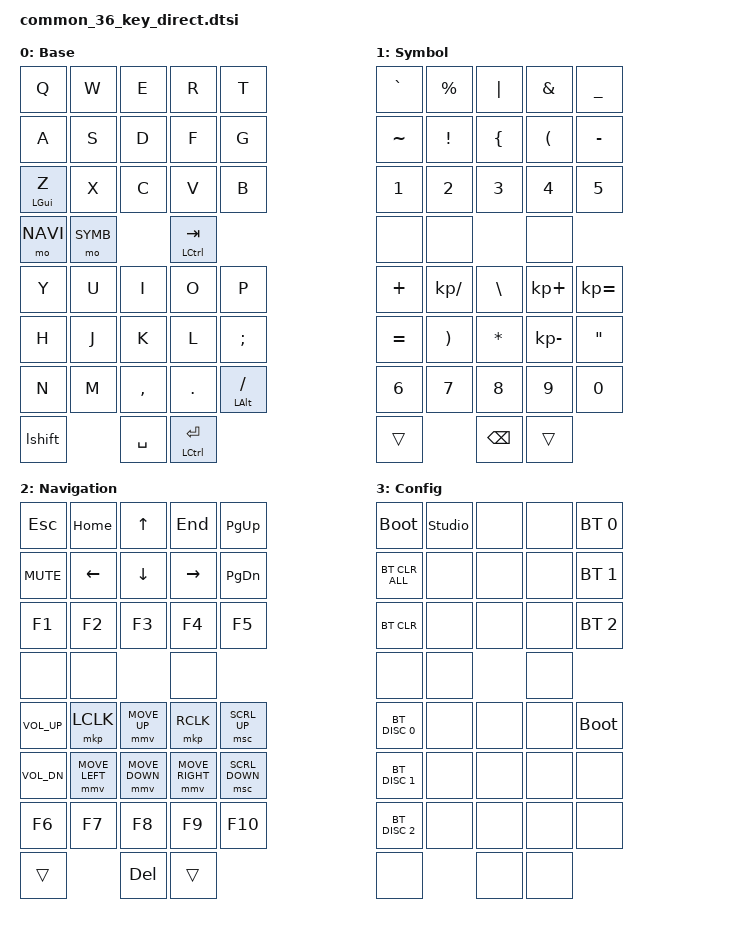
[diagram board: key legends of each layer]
#include <behaviors.dtsi>
#include <dt-bindings/zmk/keys.h>
#include <dt-bindings/zmk/bt.h>
#include <dt-bindings/zmk/pointing.h>
#include <dt-bindings/zmk/behaviors.h>

#define BASE 0
#define SYMB 1
#define NAVI 2
#define CONF 3

/ {  
    combos {
        compatible = "zmk,combos";
        
        combo_activate_layer_3 {
            timeout-ms = <150>;
            key-positions = <15 17>;
            bindings = <&mo CONF>;
        };
    };
    
    behaviors {        
        mt: mod_tap {
            compatible = "zmk,behavior-hold-tap";
            #binding-cells = <2>;
            bindings = <&kp>, <&kp>;
            tapping-term-ms = <220>;
        };
        
        mt_b: mod_tap_balanced {
            compatible = "zmk,behavior-hold-tap";
            #binding-cells = <2>;
	    flavor = "balanced";
            bindings = <&kp>, <&kp>;
            tapping-term-ms = <220>;
        };
    };

    keymap {
        compatible = "zmk,keymap";

        default_layer { // Layer 0
            display-name = "Base";
            bindings = <
                &kp Q    &kp W    &kp E    &kp R    &kp T                   
                &kp A    &kp S    &kp D    &kp F    &kp G 
                &mt_b LGUI Z    &kp X    &kp C        &kp V      &kp B 
                &mo NAVI     &mo SYMB      &mt LCTRL TAB    
                
                &kp Y    &kp U    &kp I    &kp O    &kp P
                &kp H    &kp J    &kp K    &kp L    &kp SEMICOLON
                &kp N    &kp M    &kp COMMA    &kp DOT    &mt_b LALT  SLASH
                &kp lshift    &kp SPACE     &mt LCTRL RET
            >;
        };

        symb_layer { //layer 1
            display-name = "Symbol";
            bindings = <
                &kp GRAVE   &kp PERCENT    &kp PIPE         &kp AMPERSAND  &kp UNDERSCORE
                &kp TILDE    &kp EXCLAMATION          &kp LEFT_BRACE    &kp LEFT_PARENTHESIS    &kp MINUS
                &kp N1    &kp N2    &kp N3    &kp N4    &kp N5                 
                &none     &none            &none
                
                &kp PLUS    &kp KP_SLASH   &kp BACKSLASH    &kp KP_PLUS    &kp KP_EQUAL
                &kp EQUAL    &kp RIGHT_PARENTHESIS    &kp ASTERISK      &kp KP_MINUS            &kp DOUBLE_QUOTES
                &kp N6    &kp N7    &kp N8    &kp N9    &kp N0
                &trans    &kp BACKSPACE    &trans
            >;
        };  

        navi_layer { //layer 2
            display-name = "Navigation";
            bindings = <
                &kp ESCAPE      &kp HOME     &kp UP          &kp END      &kp PG_UP   
                &kp K_MUTE      &kp LEFT          &kp DOWN          &kp RIGHT          &kp PG_DN   
                &kp F1    &kp F2    &kp F3    &kp F4    &kp F5
                &none     &none         &none
                
                &kp C_VOL_UP    &mkp LCLK    &mmv MOVE_UP    &mkp RCLK    &msc SCRL_UP
                &kp C_VOL_DN    &mmv MOVE_LEFT    &mmv MOVE_DOWN    &mmv MOVE_RIGHT    &msc SCRL_DOWN
                &kp F6    &kp F7    &kp F8    &kp F9    &kp F10
                &trans    &kp DELETE    &trans
            >;
        };


        config_layer { //layer 3
            display-name = "Config";
            bindings = <
                &bootloader    &studio_unlock    &none    &none    &bt BT_SEL 0    
                &bt BT_CLR_ALL    &none    &none    &none    &bt BT_SEL 1           
                &bt BT_CLR    &none    &none    &none   &bt BT_SEL 2         
                &none   &none    &none 
                
                &bt BT_DISC 0          &none             &none    &none    &bootloader  
                &bt BT_DISC 1    &none    &none    &none    &none   
                &bt BT_DISC 2          &none    &none    &none    &none   
                &none   &none    &none               
            >;
        }; 
        
        
        extra_1 {
            status = "reserved";
        }; 
        
        extra_2 {
            status = "reserved";
        };


    };
 };
